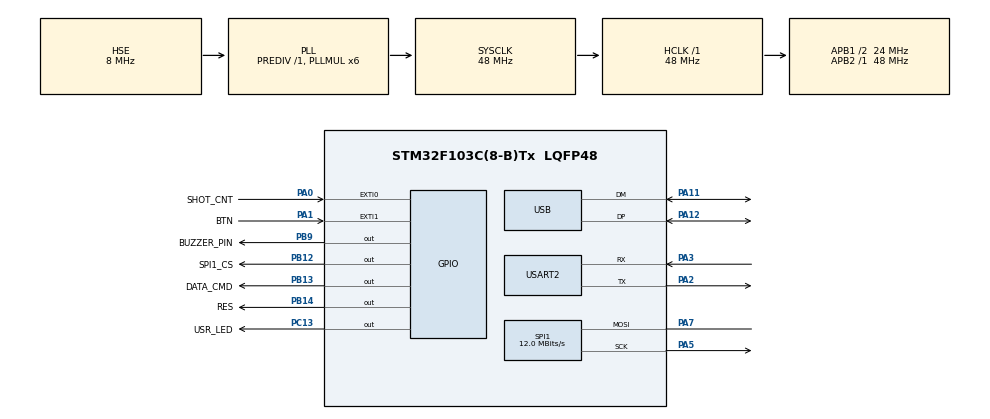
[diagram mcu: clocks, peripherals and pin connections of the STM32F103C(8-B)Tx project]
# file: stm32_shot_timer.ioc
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Mcu.Family=STM32F1
Mcu.Name=STM32F103C(8-B)Tx
Mcu.Package=LQFP48
NVIC.EXTI0_IRQn=true\:0\:0\:false\:false\:true\:true\:true
NVIC.EXTI1_IRQn=true\:0\:0\:false\:false\:true\:true\:true
NVIC.PriorityGroup=NVIC_PRIORITYGROUP_4
PA0-WKUP.GPIO_Label=SHOT_CNT
PA0-WKUP.GPIO_ModeDefaultEXTI=GPIO_MODE_IT_FALLING
PA0-WKUP.GPIO_PuPd=GPIO_PULLUP
PA0-WKUP.Signal=GPXTI0
PA1.GPIO_Label=BTN
PA1.GPIO_ModeDefaultEXTI=GPIO_MODE_IT_FALLING
PA1.Signal=GPXTI1
PA11.Mode=Device
PA11.Signal=USB_DM
PA12.Mode=Device
PA12.Signal=USB_DP
PA13.Mode=Serial_Wire
PA13.Signal=SYS_JTMS-SWDIO
PA14.Mode=Serial_Wire
PA14.Signal=SYS_JTCK-SWCLK
PA2.Mode=Asynchronous
PA2.Signal=USART2_TX
PA3.Mode=Asynchronous
PA3.Signal=USART2_RX
PA5.Mode=Simplex_Bidirectional_Master
PA5.Signal=SPI1_SCK
PA7.Mode=Simplex_Bidirectional_Master
PA7.Signal=SPI1_MOSI
PB12.GPIO_Label=SPI1_CS
PB12.Signal=GPIO_Output
PB13.GPIO_Label=DATA_CMD
PB13.Signal=GPIO_Output
PB14.GPIO_Label=RES
PB14.Signal=GPIO_Output
PB9.GPIO_Label=BUZZER_PIN
PB9.Signal=GPIO_Output
PC13-TAMPER-RTC.GPIO_Label=USR_LED
PC13-TAMPER-RTC.GPIO_PuPd=GPIO_PULLDOWN
PC13-TAMPER-RTC.Signal=GPIO_Output
PD0-OSC_IN.Mode=HSE-External-Oscillator
PD0-OSC_IN.Signal=RCC_OSC_IN
PD1-OSC_OUT.Mode=HSE-External-Oscillator
PD1-OSC_OUT.Signal=RCC_OSC_OUT
ProjectManager.HeapSize=0x200
ProjectManager.StackSize=0x400
ProjectManager.TargetToolchain=STM32CubeIDE
RCC.ADCPresc=RCC_ADCPCLK2_DIV4
RCC.AHBFreq_Value=48000000
RCC.APB1CLKDivider=RCC_HCLK_DIV2
RCC.APB1Freq_Value=24000000
RCC.APB1TimFreq_Value=48000000
RCC.APB2Freq_Value=48000000
RCC.APB2TimFreq_Value=48000000
RCC.HCLKFreq_Value=48000000
RCC.PLLMUL=RCC_PLL_MUL6
RCC.PLLSourceVirtual=RCC_PLLSOURCE_HSE
RCC.SYSCLKFreq_VALUE=48000000
RCC.SYSCLKSource=RCC_SYSCLKSOURCE_PLLCLK
RCC.USBFreq_Value=48000000
SPI1.BaudRatePrescaler=SPI_BAUDRATEPRESCALER_4
SPI1.CalculateBaudRate=12.0 MBits/s
SPI1.Direction=SPI_DIRECTION_1LINE
SPI1.Mode=SPI_MODE_MASTER
SPI1.VirtualType=VM_MASTER
USART2.VirtualMode=VM_ASYNC
board=custom

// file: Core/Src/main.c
/* USER CODE BEGIN Header */
/**
 ******************************************************************************
 * @file           : main.c
 * @brief          : Main program body
 ******************************************************************************
 * @attention
 *
 * <h2><center>&copy; Copyright (c) 2024 STMicroelectronics.
 * All rights reserved.</center></h2>
 *
 * This software component is licensed by ST under BSD 3-Clause license,
 * the "License"; You may not use this file except in compliance with the
 * License. You may obtain a copy of the License at:
 *                        opensource.org/licenses/BSD-3-Clause
 *
 ******************************************************************************
 */
/* USER CODE END Header */
#include "main.h"

/* USER CODE BEGIN Includes */
#include "common.h"
/* USER CODE END Includes */

SPI_HandleTypeDef hspi1;

UART_HandleTypeDef huart2;

PCD_HandleTypeDef hpcd_USB_FS;

void SystemClock_Config(void);
static void MX_GPIO_Init(void);
static void MX_USART2_UART_Init(void);
static void MX_USB_PCD_Init(void);
static void MX_SPI1_Init(void);
/* USER CODE BEGIN PFP */
#ifdef __GNUC__
#define PUTCHAR_PROTOTYPE int __io_putchar(int ch)
#else
#define PUTCHAR_PROTOTYPE int fputc(int ch, FILE *f)
#endif

PUTCHAR_PROTOTYPE {
	HAL_UART_Transmit(&huart2, (uint8_t*) &ch, 1, HAL_MAX_DELAY);
	return ch;
}
/* USER CODE END PFP */

int main(void)
{

  /* MCU Configuration--------------------------------------------------------*/

  /* Reset of all peripherals, Initializes the Flash interface and the Systick. */
  HAL_Init();

  /* Configure the system clock */
  SystemClock_Config();

  /* Initialize all configured peripherals */
  MX_GPIO_Init();
  MX_USART2_UART_Init();
  MX_USB_PCD_Init();
  MX_SPI1_Init();
  /* USER CODE BEGIN 2 */
//	HAL_ADCEx_Calibration_Start(&hadc1);
	ST7735_Init();
	ST7735_FillScreen(ST7735_BLACK);
	HAL_GPIO_WritePin(BUZZER_PIN_GPIO_Port, BUZZER_PIN_Pin, GPIO_PIN_SET);
	HAL_Delay(1000);
	HAL_GPIO_WritePin(BUZZER_PIN_GPIO_Port, BUZZER_PIN_Pin, GPIO_PIN_RESET);
	/* Enable IRQ after initialized */
	HAL_NVIC_EnableIRQ(EXTI0_IRQn);
	HAL_NVIC_EnableIRQ(EXTI1_IRQn);
	printf("==== System Start ====\r\n");

    ST7735_WriteString(0, 0, "== Initialized ==", Font_7x10, ST7735_WHITE, ST7735_BLACK);
    ST7735_WriteString(1, 11, VERSION, Font_7x10, ST7735_WHITE, ST7735_BLACK);
    HAL_Delay(1000);

  /* USER CODE END 2 */

  /* Infinite loop */
  /* USER CODE BEGIN WHILE */
	while (1) {
		switch(SysState.uSysState)
		{
		default:
		case SYS_STATE_COUNTING:
		case SYS_STATE_END:
			/* do nothing */
			break;
		case SYS_STATE_IDLE:
			/* TODO: main menu here */
			break;
		case SYS_STATE_INITIALIZE:
			printf("Init finished\r\n");
			SysState.uSysState = SYS_STATE_IDLE;
			break;
		case SYS_STATE_START:
			printf("RDY...\r\n");
			HAL_Delay(3000);
			HAL_GPIO_WritePin(BUZZER_PIN_GPIO_Port, BUZZER_PIN_Pin, GPIO_PIN_SET);

			/* start update parameter for start counting */
			SysState.uShotCnt = 0;
			SysState.uShotTickStart = HAL_GetTick();
			SysState.uSysState = SYS_STATE_COUNTING;

			HAL_Delay(500);
			/* remove this line for formal usage, no delay should effect starting point */
			HAL_GPIO_WritePin(BUZZER_PIN_GPIO_Port, BUZZER_PIN_Pin, GPIO_PIN_RESET);

			break;
		}

/*
	    // Check fonts
	    ST7735_FillScreen(ST7735_BLACK);
	    ST7735_WriteString(0, 0, "Font_7x10, red on black, lorem ipsum dolor sit amet", Font_7x10, ST7735_RED, ST7735_BLACK);
	    ST7735_WriteString(0, 3*10, "Font_11x18, green, lorem ipsum", Font_11x18, ST7735_GREEN, ST7735_BLACK);
	    ST7735_WriteString(0, 3*10+3*18, "Font_16x26", Font_16x26, ST7735_BLUE, ST7735_BLACK);
	    HAL_Delay(2000);

	    // Check colors
	    ST7735_FillScreen(ST7735_BLACK);
	    ST7735_WriteString(0, 0, "BLACK", Font_11x18, ST7735_WHITE, ST7735_BLACK);
	    HAL_Delay(2500);

	    ST7735_FillScreen(ST7735_BLUE);
	    ST7735_WriteString(0, 0, "BLUE", Font_11x18, ST7735_BLACK, ST7735_BLUE);
	    HAL_Delay(2500);

	    ST7735_FillScreen(ST7735_RED);
	    ST7735_WriteString(0, 0, "RED", Font_11x18, ST7735_BLACK, ST7735_RED);
	    HAL_Delay(2500);

	    ST7735_FillScreen(ST7735_GREEN);
	    ST7735_WriteString(0, 0, "GREEN", Font_11x18, ST7735_BLACK, ST7735_GREEN);
	    HAL_Delay(2500);

	    ST7735_FillScreen(ST7735_CYAN);
	    ST7735_WriteString(0, 0, "CYAN", Font_11x18, ST7735_BLACK, ST7735_CYAN);
	    HAL_Delay(2500);

	    ST7735_FillScreen(ST7735_MAGENTA);
	    ST7735_WriteString(0, 0, "MAGENTA", Font_11x18, ST7735_BLACK, ST7735_MAGENTA);
	    HAL_Delay(2500);

	    ST7735_FillScreen(ST7735_YELLOW);
	    ST7735_WriteString(0, 0, "YELLOW", Font_11x18, ST7735_BLACK, ST7735_YELLOW);
	    HAL_Delay(2500);

	    ST7735_FillScreen(ST7735_WHITE);
	    ST7735_WriteString(0, 0, "WHITE", Font_11x18, ST7735_BLACK, ST7735_WHITE);
	    HAL_Delay(2500);
*/
    /* USER CODE END WHILE */

	}
}

void SystemClock_Config(void)
{
  RCC_OscInitTypeDef RCC_OscInitStruct = {0};
  RCC_ClkInitTypeDef RCC_ClkInitStruct = {0};
  RCC_PeriphCLKInitTypeDef PeriphClkInit = {0};

  /** Initializes the RCC Oscillators according to the specified parameters
  * in the RCC_OscInitTypeDef structure.
  */
  RCC_OscInitStruct.OscillatorType = RCC_OSCILLATORTYPE_HSE;
  RCC_OscInitStruct.HSEState = RCC_HSE_ON;
  RCC_OscInitStruct.HSEPredivValue = RCC_HSE_PREDIV_DIV1;
  RCC_OscInitStruct.HSIState = RCC_HSI_ON;
  RCC_OscInitStruct.PLL.PLLState = RCC_PLL_ON;
  RCC_OscInitStruct.PLL.PLLSource = RCC_PLLSOURCE_HSE;
  RCC_OscInitStruct.PLL.PLLMUL = RCC_PLL_MUL6;
  if (HAL_RCC_OscConfig(&RCC_OscInitStruct) != HAL_OK)
  {
    Error_Handler();
  }
  /** Initializes the CPU, AHB and APB buses clocks
  */
  RCC_ClkInitStruct.ClockType = RCC_CLOCKTYPE_HCLK|RCC_CLOCKTYPE_SYSCLK
                              |RCC_CLOCKTYPE_PCLK1|RCC_CLOCKTYPE_PCLK2;
  RCC_ClkInitStruct.SYSCLKSource = RCC_SYSCLKSOURCE_PLLCLK;
  RCC_ClkInitStruct.AHBCLKDivider = RCC_SYSCLK_DIV1;
  RCC_ClkInitStruct.APB1CLKDivider = RCC_HCLK_DIV2;
  RCC_ClkInitStruct.APB2CLKDivider = RCC_HCLK_DIV1;

  if (HAL_RCC_ClockConfig(&RCC_ClkInitStruct, FLASH_LATENCY_1) != HAL_OK)
  {
    Error_Handler();
  }
  PeriphClkInit.PeriphClockSelection = RCC_PERIPHCLK_USB;
  PeriphClkInit.UsbClockSelection = RCC_USBCLKSOURCE_PLL;
  if (HAL_RCCEx_PeriphCLKConfig(&PeriphClkInit) != HAL_OK)
  {
    Error_Handler();
  }
}

static void MX_SPI1_Init(void)
{

  /* SPI1 parameter configuration*/
  hspi1.Instance = SPI1;
  hspi1.Init.Mode = SPI_MODE_MASTER;
  hspi1.Init.Direction = SPI_DIRECTION_1LINE;
  hspi1.Init.DataSize = SPI_DATASIZE_8BIT;
  hspi1.Init.CLKPolarity = SPI_POLARITY_LOW;
  hspi1.Init.CLKPhase = SPI_PHASE_1EDGE;
  hspi1.Init.NSS = SPI_NSS_SOFT;
  hspi1.Init.BaudRatePrescaler = SPI_BAUDRATEPRESCALER_4;
  hspi1.Init.FirstBit = SPI_FIRSTBIT_MSB;
  hspi1.Init.TIMode = SPI_TIMODE_DISABLE;
  hspi1.Init.CRCCalculation = SPI_CRCCALCULATION_DISABLE;
  hspi1.Init.CRCPolynomial = 10;
  if (HAL_SPI_Init(&hspi1) != HAL_OK)
  {
    Error_Handler();
  }

}

static void MX_USART2_UART_Init(void)
{

  huart2.Instance = USART2;
  huart2.Init.BaudRate = 115200;
  huart2.Init.WordLength = UART_WORDLENGTH_8B;
  huart2.Init.StopBits = UART_STOPBITS_1;
  huart2.Init.Parity = UART_PARITY_NONE;
  huart2.Init.Mode = UART_MODE_TX_RX;
  huart2.Init.HwFlowCtl = UART_HWCONTROL_NONE;
  huart2.Init.OverSampling = UART_OVERSAMPLING_16;
  if (HAL_UART_Init(&huart2) != HAL_OK)
  {
    Error_Handler();
  }

}

static void MX_USB_PCD_Init(void)
{

  hpcd_USB_FS.Instance = USB;
  hpcd_USB_FS.Init.dev_endpoints = 8;
  hpcd_USB_FS.Init.speed = PCD_SPEED_FULL;
  hpcd_USB_FS.Init.low_power_enable = DISABLE;
  hpcd_USB_FS.Init.lpm_enable = DISABLE;
  hpcd_USB_FS.Init.battery_charging_enable = DISABLE;
  if (HAL_PCD_Init(&hpcd_USB_FS) != HAL_OK)
  {
    Error_Handler();
  }

}

static void MX_GPIO_Init(void)
{
  GPIO_InitTypeDef GPIO_InitStruct = {0};

  /* GPIO Ports Clock Enable */
  __HAL_RCC_GPIOC_CLK_ENABLE();
  __HAL_RCC_GPIOD_CLK_ENABLE();
  __HAL_RCC_GPIOA_CLK_ENABLE();
  __HAL_RCC_GPIOB_CLK_ENABLE();

  /*Configure GPIO pin Output Level */
  HAL_GPIO_WritePin(USR_LED_GPIO_Port, USR_LED_Pin, GPIO_PIN_RESET);

  /*Configure GPIO pin Output Level */
  HAL_GPIO_WritePin(GPIOB, SPI1_CS_Pin|DATA_CMD_Pin|RES_Pin, GPIO_PIN_RESET);

  /*Configure GPIO pin : USR_LED_Pin */
  GPIO_InitStruct.Pin = USR_LED_Pin;
  GPIO_InitStruct.Mode = GPIO_MODE_OUTPUT_PP;
  GPIO_InitStruct.Pull = GPIO_PULLDOWN;
  GPIO_InitStruct.Speed = GPIO_SPEED_FREQ_LOW;
  HAL_GPIO_Init(USR_LED_GPIO_Port, &GPIO_InitStruct);

  /*Configure GPIO pin : SHOT_CNT_Pin */
  GPIO_InitStruct.Pin = SHOT_CNT_Pin;
  GPIO_InitStruct.Mode = GPIO_MODE_IT_FALLING;
  GPIO_InitStruct.Pull = GPIO_PULLUP;
  HAL_GPIO_Init(SHOT_CNT_GPIO_Port, &GPIO_InitStruct);

  /*Configure GPIO pin : BTN_Pin */
  GPIO_InitStruct.Pin = BTN_Pin;
  GPIO_InitStruct.Mode = GPIO_MODE_IT_FALLING;
  GPIO_InitStruct.Pull = GPIO_NOPULL;
  HAL_GPIO_Init(BTN_GPIO_Port, &GPIO_InitStruct);

  /*Configure GPIO pins : SPI1_CS_Pin DATA_CMD_Pin RES_Pin BUZZER_PIN_Pin */
  GPIO_InitStruct.Pin = SPI1_CS_Pin|DATA_CMD_Pin|RES_Pin|BUZZER_PIN_Pin;
  GPIO_InitStruct.Mode = GPIO_MODE_OUTPUT_PP;
  GPIO_InitStruct.Pull = GPIO_NOPULL;
  GPIO_InitStruct.Speed = GPIO_SPEED_FREQ_LOW;
  HAL_GPIO_Init(GPIOB, &GPIO_InitStruct);

  /* EXTI interrupt init*/
  HAL_NVIC_SetPriority(EXTI0_IRQn, 0, 0);
  HAL_NVIC_EnableIRQ(EXTI0_IRQn);

  HAL_NVIC_SetPriority(EXTI1_IRQn, 0, 0);
  HAL_NVIC_EnableIRQ(EXTI1_IRQn);

}

void Error_Handler(void)
{
	__disable_irq();
	while (1) {
	}
}

/************************ (C) COPYRIGHT STMicroelectronics *****END OF FILE****/
